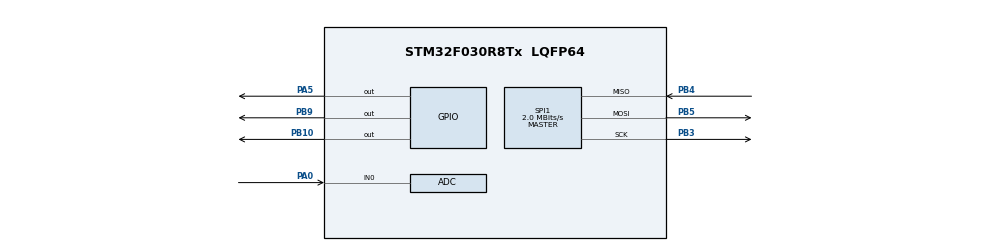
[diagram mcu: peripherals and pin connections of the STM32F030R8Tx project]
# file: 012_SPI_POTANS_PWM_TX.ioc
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ADC.ContinuousConvMode=ENABLE
ADC.Resolution=ADC_RESOLUTION_8B
ADC.SamplingTime=ADC_SAMPLETIME_1CYCLE_5
Mcu.Family=STM32F0
Mcu.Name=STM32F030R8Tx
Mcu.Package=LQFP64
PA0.Mode=IN0
PA0.Signal=ADC_IN0
PA13.Mode=Serial_Wire
PA13.Signal=SYS_SWDIO
PA14.Mode=Serial_Wire
PA14.Signal=SYS_SWCLK
PA5.Signal=GPIO_Output
PB10.GPIO_Speed=GPIO_SPEED_FREQ_HIGH
PB10.PinState=GPIO_PIN_RESET
PB10.Signal=GPIO_Output
PB3.Mode=Full_Duplex_Master
PB3.Signal=SPI1_SCK
PB4.Mode=Full_Duplex_Master
PB4.Signal=SPI1_MISO
PB5.Mode=Full_Duplex_Master
PB5.Signal=SPI1_MOSI
PB9.GPIO_Speed=GPIO_SPEED_FREQ_HIGH
PB9.Signal=GPIO_Output
ProjectManager.HeapSize=0x200
ProjectManager.StackSize=0x400
ProjectManager.TargetToolchain=STM32CubeIDE
SPI1.BaudRatePrescaler=SPI_BAUDRATEPRESCALER_4
SPI1.CalculateBaudRate=2.0 MBits/s
SPI1.DataSize=SPI_DATASIZE_8BIT
SPI1.Direction=SPI_DIRECTION_2LINES
SPI1.Mode=SPI_MODE_MASTER
SPI1.VirtualType=VM_MASTER
board=custom

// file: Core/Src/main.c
/* USER CODE BEGIN Header */
/**
  ******************************************************************************
  * @file           : main.c
  * @brief          : Main program body
  ******************************************************************************
  * @attention
  *
  * Copyright (c) 2025 STMicroelectronics.
  * All rights reserved.
  *
  * This software is licensed under terms that can be found in the LICENSE file
  * in the root directory of this software component.
  * If no LICENSE file comes with this software, it is provided AS-IS.
  *
  ******************************************************************************
  */
/* USER CODE END Header */
#include "main.h"

/* USER CODE BEGIN Includes */
#include "nrf24l01.h"
#include "string.h"

/* USER CODE END Includes */

ADC_HandleTypeDef hadc;

SPI_HandleTypeDef hspi1;

/* USER CODE BEGIN PV */
uint8_t tx_address[5] = {0xD1, 0xC2, 0xC3, 0xC4, 0xC5}; // Özel bir adres
uint8_t tx_data[1]; // Gönderilecek veri
uint8_t ADC_value;
/* USER CODE END PV */

void SystemClock_Config(void);
static void MX_GPIO_Init(void);
static void MX_SPI1_Init(void);
static void MX_ADC_Init(void);

/* USER CODE BEGIN 0 */

uint8_t ADC_Gelen_deger(void) {

	HAL_ADC_Start(&hadc);
	HAL_ADC_PollForConversion(&hadc, HAL_MAX_DELAY);
	ADC_value= (uint8_t)HAL_ADC_GetValue(&hadc);
	HAL_ADC_Stop(&hadc);

	return (ADC_value >> 4);
}
/* USER CODE END 0 */

int main(void)
{

  /* MCU Configuration--------------------------------------------------------*/

  /* Reset of all peripherals, Initializes the Flash interface and the Systick. */
  HAL_Init();

  /* Configure the system clock */
  SystemClock_Config();

  /* Initialize all configured peripherals */
  MX_GPIO_Init();
  MX_SPI1_Init();
  MX_ADC_Init();
  /* USER CODE BEGIN 2 */
  	 nrf24_config(40, 1); // 2.4 GHz bandında 40. kanalda, 32 byte payload
     nrf24_tx_address(tx_address);
     nrf24_tx_mode();
  /* USER CODE END 2 */

  /* Infinite loop */
  while (1)
  {

    /* USER CODE BEGIN 3 */
	  tx_data[0] = ADC_Gelen_deger();

	             if (nrf24_send((uint8_t*)tx_data, 1))
	             {
	                 HAL_GPIO_TogglePin(GPIOA, GPIO_PIN_5);

	             }
	             HAL_Delay(50);
  }
  /* USER CODE END 3 */
}

void SystemClock_Config(void)
{
  RCC_OscInitTypeDef RCC_OscInitStruct = {0};
  RCC_ClkInitTypeDef RCC_ClkInitStruct = {0};

  /** Initializes the RCC Oscillators according to the specified parameters
  * in the RCC_OscInitTypeDef structure.
  */
  RCC_OscInitStruct.OscillatorType = RCC_OSCILLATORTYPE_HSI|RCC_OSCILLATORTYPE_HSI14;
  RCC_OscInitStruct.HSIState = RCC_HSI_ON;
  RCC_OscInitStruct.HSI14State = RCC_HSI14_ON;
  RCC_OscInitStruct.HSICalibrationValue = RCC_HSICALIBRATION_DEFAULT;
  RCC_OscInitStruct.HSI14CalibrationValue = 16;
  RCC_OscInitStruct.PLL.PLLState = RCC_PLL_NONE;
  if (HAL_RCC_OscConfig(&RCC_OscInitStruct) != HAL_OK)
  {
    Error_Handler();
  }

  /** Initializes the CPU, AHB and APB buses clocks
  */
  RCC_ClkInitStruct.ClockType = RCC_CLOCKTYPE_HCLK|RCC_CLOCKTYPE_SYSCLK
                              |RCC_CLOCKTYPE_PCLK1;
  RCC_ClkInitStruct.SYSCLKSource = RCC_SYSCLKSOURCE_HSI;
  RCC_ClkInitStruct.AHBCLKDivider = RCC_SYSCLK_DIV1;
  RCC_ClkInitStruct.APB1CLKDivider = RCC_HCLK_DIV1;

  if (HAL_RCC_ClockConfig(&RCC_ClkInitStruct, FLASH_LATENCY_0) != HAL_OK)
  {
    Error_Handler();
  }
}

static void MX_ADC_Init(void)
{

  ADC_ChannelConfTypeDef sConfig = {0};

  /** Configure the global features of the ADC (Clock, Resolution, Data Alignment and number of conversion)
  */
  hadc.Instance = ADC1;
  hadc.Init.ClockPrescaler = ADC_CLOCK_ASYNC_DIV1;
  hadc.Init.Resolution = ADC_RESOLUTION_8B;
  hadc.Init.DataAlign = ADC_DATAALIGN_RIGHT;
  hadc.Init.ScanConvMode = ADC_SCAN_DIRECTION_FORWARD;
  hadc.Init.EOCSelection = ADC_EOC_SINGLE_CONV;
  hadc.Init.LowPowerAutoWait = DISABLE;
  hadc.Init.LowPowerAutoPowerOff = DISABLE;
  hadc.Init.ContinuousConvMode = ENABLE;
  hadc.Init.DiscontinuousConvMode = DISABLE;
  hadc.Init.ExternalTrigConv = ADC_SOFTWARE_START;
  hadc.Init.ExternalTrigConvEdge = ADC_EXTERNALTRIGCONVEDGE_NONE;
  hadc.Init.DMAContinuousRequests = DISABLE;
  hadc.Init.Overrun = ADC_OVR_DATA_PRESERVED;
  if (HAL_ADC_Init(&hadc) != HAL_OK)
  {
    Error_Handler();
  }

  /** Configure for the selected ADC regular channel to be converted.
  */
  sConfig.Channel = ADC_CHANNEL_0;
  sConfig.Rank = ADC_RANK_CHANNEL_NUMBER;
  sConfig.SamplingTime = ADC_SAMPLETIME_1CYCLE_5;
  if (HAL_ADC_ConfigChannel(&hadc, &sConfig) != HAL_OK)
  {
    Error_Handler();
  }

}

static void MX_SPI1_Init(void)
{

  /* SPI1 parameter configuration*/
  hspi1.Instance = SPI1;
  hspi1.Init.Mode = SPI_MODE_MASTER;
  hspi1.Init.Direction = SPI_DIRECTION_2LINES;
  hspi1.Init.DataSize = SPI_DATASIZE_8BIT;
  hspi1.Init.CLKPolarity = SPI_POLARITY_LOW;
  hspi1.Init.CLKPhase = SPI_PHASE_1EDGE;
  hspi1.Init.NSS = SPI_NSS_SOFT;
  hspi1.Init.BaudRatePrescaler = SPI_BAUDRATEPRESCALER_4;
  hspi1.Init.FirstBit = SPI_FIRSTBIT_MSB;
  hspi1.Init.TIMode = SPI_TIMODE_DISABLE;
  hspi1.Init.CRCCalculation = SPI_CRCCALCULATION_DISABLE;
  hspi1.Init.CRCPolynomial = 7;
  hspi1.Init.CRCLength = SPI_CRC_LENGTH_DATASIZE;
  hspi1.Init.NSSPMode = SPI_NSS_PULSE_ENABLE;
  if (HAL_SPI_Init(&hspi1) != HAL_OK)
  {
    Error_Handler();
  }

}

static void MX_GPIO_Init(void)
{
  GPIO_InitTypeDef GPIO_InitStruct = {0};

  /* GPIO Ports Clock Enable */
  __HAL_RCC_GPIOA_CLK_ENABLE();
  __HAL_RCC_GPIOB_CLK_ENABLE();

  /*Configure GPIO pin Output Level */
  HAL_GPIO_WritePin(GPIOA, GPIO_PIN_5, GPIO_PIN_RESET);

  /*Configure GPIO pin Output Level */
  HAL_GPIO_WritePin(GPIOB, GPIO_PIN_10|GPIO_PIN_9, GPIO_PIN_RESET);

  /*Configure GPIO pin : PA5 */
  GPIO_InitStruct.Pin = GPIO_PIN_5;
  GPIO_InitStruct.Mode = GPIO_MODE_OUTPUT_PP;
  GPIO_InitStruct.Pull = GPIO_NOPULL;
  GPIO_InitStruct.Speed = GPIO_SPEED_FREQ_LOW;
  HAL_GPIO_Init(GPIOA, &GPIO_InitStruct);

  /*Configure GPIO pins : PB10 PB9 */
  GPIO_InitStruct.Pin = GPIO_PIN_10|GPIO_PIN_9;
  GPIO_InitStruct.Mode = GPIO_MODE_OUTPUT_PP;
  GPIO_InitStruct.Pull = GPIO_NOPULL;
  GPIO_InitStruct.Speed = GPIO_SPEED_FREQ_HIGH;
  HAL_GPIO_Init(GPIOB, &GPIO_InitStruct);

}

void Error_Handler(void)
{
  __disable_irq();
  while (1)
  {
  }
}
